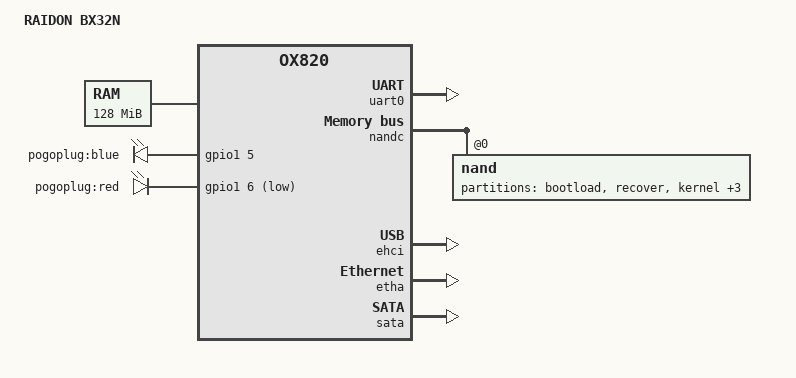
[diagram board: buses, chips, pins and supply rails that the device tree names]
/*
 * RAIDON BX32N - Device tree file
 *
 * EDITOR BY PHCHSHOW
 * REFERANCE other oxnas dts
 * Licensed under GPLv2 or later
 */

/dts-v1/;
#include "ox820.dtsi"
#include <dt-bindings/gpio/gpio.h>

/ {
        model = "RAIDON BX32N";

        compatible = "raidon,bx32n", "oxsemi,ox820";

        chosen {
                bootargs = "earlyprintk console=ttyS0,115200";
                stdout-path = "serial0:115200n8";
        };

        memory {
                /* 128Mbytes DDR */
                reg = <0x60000000 0x8000000>;
        };

        aliases {
                serial0 = &uart0;
                gpio0 = &gpio0;
                gpio1 = &gpio1;
                led-boot = &led_status;
                led-failsafe = &led_warn;
                led-running = &led_act;
                led-upgrade = &led_warn;
        };

        /* Try to fixed,when I learning i2c and gpio. */

        leds {
                compatible = "gpio-leds";

                led_status: blue {
                        label = "pogoplug:blue";
                        gpios = <&gpio1 5 GPIO_ACTIVE_HIGH>;
                        default-state = "keep";
                };

                led_warn: red {
                        label = "pogoplug:red";
                        gpios = <&gpio1 6 GPIO_ACTIVE_LOW>;
                        default-state = "keep";
                };

        };

};

&uart0 {
        status = "okay";

        pinctrl-names = "default";
        pinctrl-0 = <&pinctrl_uart0>;
};

&nandc {
        status = "okay";

        pinctrl-names = "default";
        pinctrl-0 = <&pinctrl_nand>;

        nand@0 {
                reg = <0>;
                #address-cells = <1>;
                #size-cells = <1>;
                nand-ecc-mode = "soft";
                nand-ecc-algo = "hamming";

                partition@0 {
                        label = "bootload";
                        reg = <0x00000000 0x000440000>;
                        read-only;
                };

                partition@440000 {
                        label = "recover";
                        reg = <0x000440000 0x01000000>;
                        read-only;
                };

                partition@1440000 {
                        label = "kernel";
                        reg = <0x001440000 0x000c0000>;
                };

                partition@2040000 {
                        label = "bootfs";
                        reg = <0x002040000 0x00c00000>;
                };

                partition@2c40000 {
                        label = "config";
                        reg = <0x002c40000 0x00500000>;
                };

                partition@3140000 {
                        label = "ubi";
                        reg = <0x003140000 0x004ec0000>;
                };
        };
};

&ehci {
        status = "okay";
};

&etha {
        status = "okay";

        pinctrl-names = "default";
        pinctrl-0 = <&pinctrl_etha_mdio>;
};

&sata {
        status = "okay";
        nr-ports = <2>;
};
